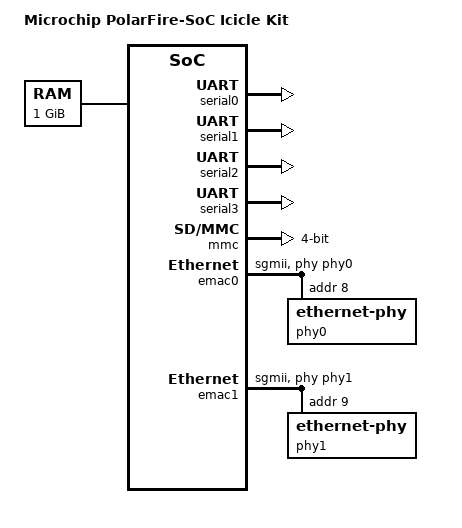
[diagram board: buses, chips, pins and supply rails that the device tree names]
// SPDX-License-Identifier: (GPL-2.0 OR MIT)
/* Copyright (c) 2020 Microchip Technology Inc */

/dts-v1/;

#include "microchip-mpfs.dtsi"

/* Clock frequency (in Hz) of the rtcclk */
#define RTCCLK_FREQ		1000000

/ {
	model = "Microchip PolarFire-SoC Icicle Kit";
	compatible = "microchip,mpfs-icicle-kit", "microchip,mpfs";

	aliases {
		ethernet0 = &emac1;
		serial0 = &serial0;
		serial1 = &serial1;
		serial2 = &serial2;
		serial3 = &serial3;
	};

	chosen {
		stdout-path = "serial0:115200n8";
	};

	cpus {
		timebase-frequency = <RTCCLK_FREQ>;
	};

	memory@80000000 {
		device_type = "memory";
		reg = <0x0 0x80000000 0x0 0x40000000>;
		clocks = <&clkcfg 26>;
	};
};

&serial0 {
	status = "okay";
};

&serial1 {
	status = "okay";
};

&serial2 {
	status = "okay";
};

&serial3 {
	status = "okay";
};

&mmc {
	status = "okay";

	bus-width = <4>;
	disable-wp;
	cap-sd-highspeed;
	card-detect-delay = <200>;
	sd-uhs-sdr12;
	sd-uhs-sdr25;
	sd-uhs-sdr50;
	sd-uhs-sdr104;
};

&emac0 {
	phy-mode = "sgmii";
	phy-handle = <&phy0>;
	phy0: ethernet-phy@8 {
		reg = <8>;
		ti,fifo-depth = <0x01>;
	};
};

&emac1 {
	status = "okay";
	phy-mode = "sgmii";
	phy-handle = <&phy1>;
	phy1: ethernet-phy@9 {
		reg = <9>;
		ti,fifo-depth = <0x01>;
	};
};
